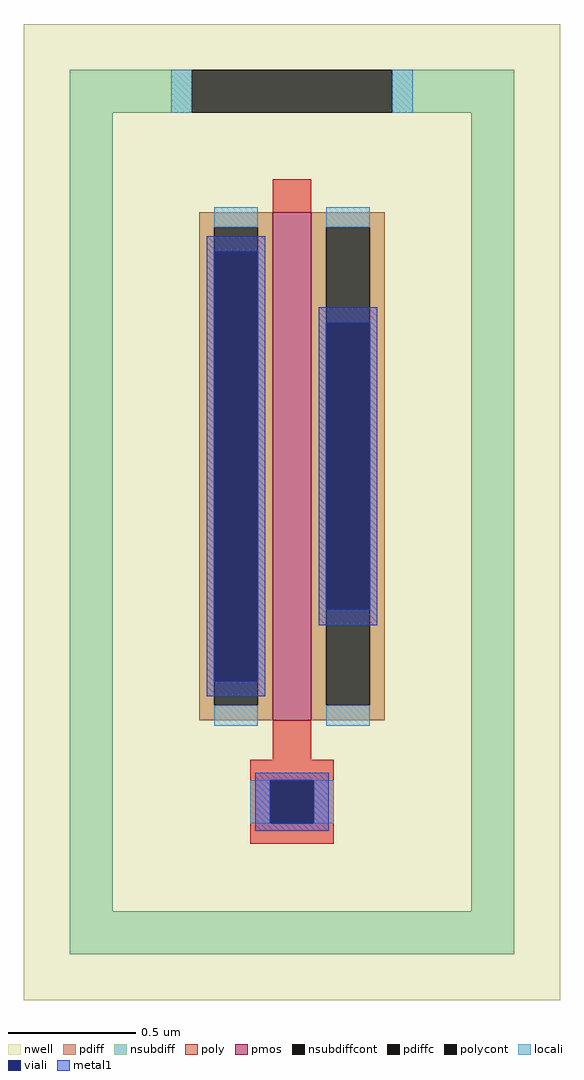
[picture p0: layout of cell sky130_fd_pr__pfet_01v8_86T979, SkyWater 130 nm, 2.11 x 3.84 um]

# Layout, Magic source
magic
tech sky130B
magscale 1 2
<< nwell >>
rect -211 -384 211 384
<< pmos >>
rect -15 -164 15 236
<< pdiff >>
rect -73 224 -15 236
rect -73 -152 -61 224
rect -27 -152 -15 224
rect -73 -164 -15 -152
rect 15 224 73 236
rect 15 -152 27 224
rect 61 -152 73 224
rect 15 -164 73 -152
<< pdiffc >>
rect -61 -152 -27 224
rect 27 -152 61 224
<< nsubdiff >>
rect -175 314 -79 348
rect 79 314 175 348
rect -175 -314 -141 314
rect 141 -314 175 314
rect -175 -348 175 -314
<< nsubdiffcont >>
rect -79 314 79 348
<< poly >>
rect -15 236 15 262
rect -15 -195 15 -164
rect -33 -211 33 -195
rect -33 -245 -17 -211
rect 17 -245 33 -211
rect -33 -261 33 -245
<< polycont >>
rect -17 -245 17 -211
<< locali >>
rect -95 314 -79 348
rect 79 314 95 348
rect -61 224 -27 240
rect -61 -168 -27 -152
rect 27 224 61 240
rect 27 -168 61 -152
rect -33 -245 -17 -211
rect 17 -245 33 -211
<< viali >>
rect -61 -133 -27 205
rect 27 -77 61 149
rect -17 -245 17 -211
<< metal1 >>
rect -67 205 -21 217
rect -67 -133 -61 205
rect -27 -133 -21 205
rect 21 149 67 161
rect 21 -77 27 149
rect 61 -77 67 149
rect 21 -89 67 -77
rect -67 -145 -21 -133
rect -29 -211 29 -205
rect -29 -245 -17 -211
rect 17 -245 29 -211
rect -29 -251 29 -245
<< properties >>
string FIXED_BBOX -158 -331 158 331
string gencell sky130_fd_pr__pfet_01v8
string library sky130
string parameters w 2 l 0.15 m 1 nf 1 diffcov 100 polycov 100 guard 1 glc 0 grc 0 gtc 1 gbc 0 tbcov 100 rlcov 100 topc 0 botc 1 poverlap 0 doverlap 1 lmin 0.15 wmin 0.42 compatible {sky130_fd_pr__pfet_01v8  sky130_fd_pr__pfet_01v8_lvt sky130_fd_pr__pfet_01v8_hvt  sky130_fd_pr__pfet_g5v0d10v5} full_metal 0 viasrc 60 viadrn 90 viagate 100 viagb 0 viagr 0 viagl 0 viagt 0
<< end >>
